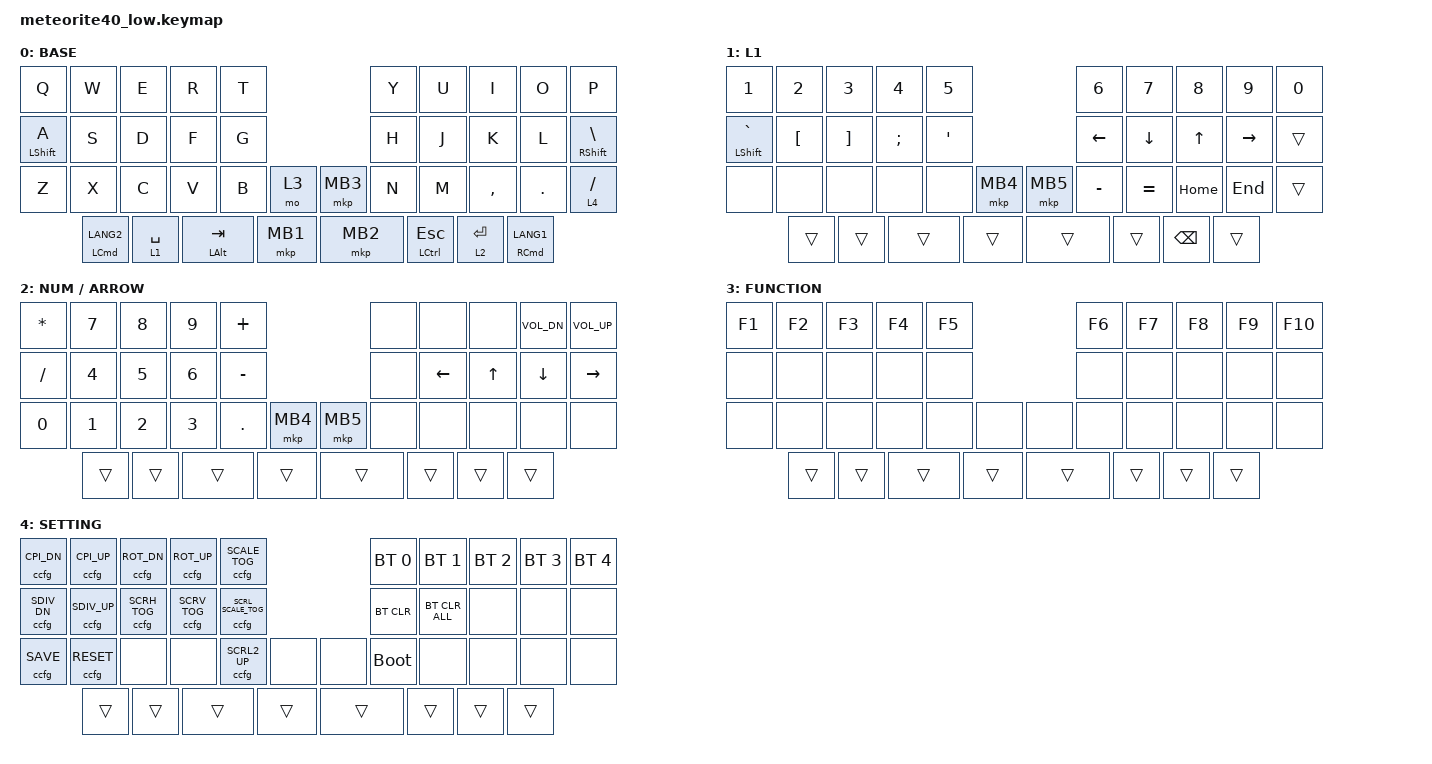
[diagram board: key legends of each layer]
#include <behaviors.dtsi>
#include <dt-bindings/zmk/bt.h>
#include <dt-bindings/zmk/keys.h>
#include <dt-bindings/zmk/pointing.h>

#include <behaviors/custom_config.dtsi>
#include <behaviors/meteorite_custom_key.dtsi>
#include <behaviors/meteorite_bt_os.dtsi>
#include <behaviors/meteorite_mod_key.dtsi>
#include <behaviors/meteorite_os_key.dtsi>
#include <dt-bindings/zmk/custom_config.h>
#include <dt-bindings/zmk/meteorite_custom_keys.h>
#include <dt-bindings/zmk/meteorite_bt_os.h>

&mt { 
    flavor = "tap-preferred"; // change hold to tap
    tapping-term-ms = <200>;
    quick-tap-ms = <150>; // change 200 to 150
};

&lt {
    flavor = "tap-preferred";
    tapping-term-ms = <150>; // change 200 to 150
    quick-tap-ms = <150>; // change 200 to 150
};

/ {
    behaviors {
        mck_mt: mck_mt {
            compatible = "zmk,behavior-hold-tap";
            #binding-cells = <2>;
            flavor = "tap-preferred";
            tapping-term-ms = <150>;
            bindings = <&mck>, <&kp>;
            display-name = "meteorite OS-Switch-mod-tap";
        };

        mck_mt_st: mck_mt_st {
            compatible = "zmk,behavior-hold-tap";
            #binding-cells = <2>;
            flavor = "tap-preferred";
            tapping-term-ms = <150>;
            bindings = <&mck>, <&alt_cmd_tab>;
            display-name = "meteorite OS-Switch-mod-tap (smart toggle)";
        };

        alt_cmd_tab: alt_cmd_tab {
            compatible = "zmk,behavior-smart-toggle";
            #binding-cells = <0>;
            display-name = "meteorite Smart toggle (Alt/Cmd+Tab)";
            bindings = <&mck M_OS_ALT_CMD>, <&kp TAB>;
            position-bindings = <12 13>; /* D, F */
            position-binding-behaviors = <&kp LS(TAB)>, <&kp TAB>;
        };
    };

    combos {
        compatible = "zmk,combos";

        lang1 {
            bindings = <&kp LANG1>;
            key-positions = <12 13>; /* D + F */
            layers = <0>;
        };

        lang2 {
            bindings = <&kp LANG2>;
            key-positions = <16 17>; /* J + K */
            layers = <0>;
        };

        esc {
            bindings = <&kp ESCAPE>;
            key-positions = <20 21>; /* Z + X */
            layers = <0>;
        };

        tab {
            bindings = <&kp TAB>;
            key-positions = <0 1>; /* Q + W */
            layers = <0>;
        };

        lbrc {
            bindings = <&kp LBRC>;
            key-positions = <15 16>; /* H + J */
            layers = <0>;
        };

        rbrc {
            bindings = <&kp RBRC>;
            key-positions = <17 18>; /* K + L */
            layers = <0>;
        };
    };

    keymap {
        compatible = "zmk,keymap";
        layout = &LOW_PROFILE_DEFAULT;

        win_default_layer {
            display-name = "BASE";
            bindings = <
                &kp Q        &kp W       &kp E        &kp R        &kp T                                 &kp Y        &kp U       &kp I       &kp O  &kp P
                &mt LSHIFT A &kp S       &kp D        &kp F        &kp G                                 &kp H        &kp J       &kp K       &kp L  &mt RSHIFT BSLH
                &kp Z        &kp X       &kp C        &kp V        &kp B        &mo 3        &mkp MB3    &kp N        &kp M       &kp COMMA   &kp DOT  &lt 4 SLASH
                                    &mt LCMD LANG2  &lt 1 SPACE  &mt LALT TAB  &mkp MB1  &mkp MB2  &mt LCTRL ESC  &lt 2 ENTER  &mt RCMD LANG1
            >;
        };

        layer_1 {
            display-name = "L1";
            bindings = <
                &kp N1     &kp N2    &kp N3    &kp N4    &kp N5                          &kp N6     &kp N7     &kp N8     &kp N9     &kp N0
                &mt LSHIFT GRAVE  &kp LBKT  &kp RBKT  &kp SEMI  &kp SQT                   &kp LEFT   &kp DOWN   &kp UP     &kp RIGHT  &trans
                &none      &none     &none     &none     &none      &mkp MB4  &mkp MB5   &kp MINUS  &kp EQUAL  &kp HOME   &kp END    &trans
                                     &trans    &trans    &trans     &trans    &trans     &trans     &kp BSPC   &trans
            >;
        };

        layer_2 {
            display-name = "NUM / ARROW";
            bindings = <
                &kp ASTRK        &kp N7     &kp N8     &kp N9     &kp PLUS                        &none  &none     &none   &kp C_VOL_DN &kp C_VOL_UP
                &kp SLASH        &kp N4     &kp N5     &kp N6     &kp MINUS                       &none  &kp LEFT  &kp UP  &kp DOWN     &kp RIGHT
                &kp N0           &kp N1     &kp N2     &kp N3     &kp DOT   &mkp MB4   &mkp MB5   &none  &none     &none   &none        &none
                                        &trans           &trans     &trans     &trans    &trans        &trans  &trans    &trans
            >;
        };

        layer_3 {
            display-name = "FUNCTION";
            bindings = <
                &kp F1  &kp F2  &kp F3  &kp F4  &kp F5                  &kp F6  &kp F7  &kp F8  &kp F9  &kp F10
                &none   &none   &none   &none   &none                   &none   &none   &none   &none   &none
                &none   &none   &none   &none   &none   &none   &none   &none   &none   &none    &none  &none
                                &trans  &trans  &trans  &trans  &trans  &trans  &trans  &trans
            >;
        };

        layer_4 {
			display-name = "SETTING";
			bindings = <
				&ccfg C_CPI_DN  &ccfg C_CPI_UP  &ccfg C_ROT_DN   &ccfg C_ROT_UP   &ccfg C_SCALE_TOG                        &bt BT_SEL 0   &bt BT_SEL 1    &bt BT_SEL 2  &bt BT_SEL 3  &bt BT_SEL 4
				&ccfg C_SDIV_DN &ccfg C_SDIV_UP &ccfg C_SCRH_TOG &ccfg C_SCRV_TOG &ccfg C_SCRL_SCALE_TOG                   &bt BT_CLR     &bt BT_CLR_ALL  &none         &none         &none
				&ccfg C_SAVE    &ccfg C_RESET   &none            &none            &ccfg C_SCRL2_UP         &none  &none    &bootloader    &none           &none         &none         &none
												                    &trans       &trans  &trans  &trans  &trans  &trans    &trans        &trans
			>;
        };
    };
};
